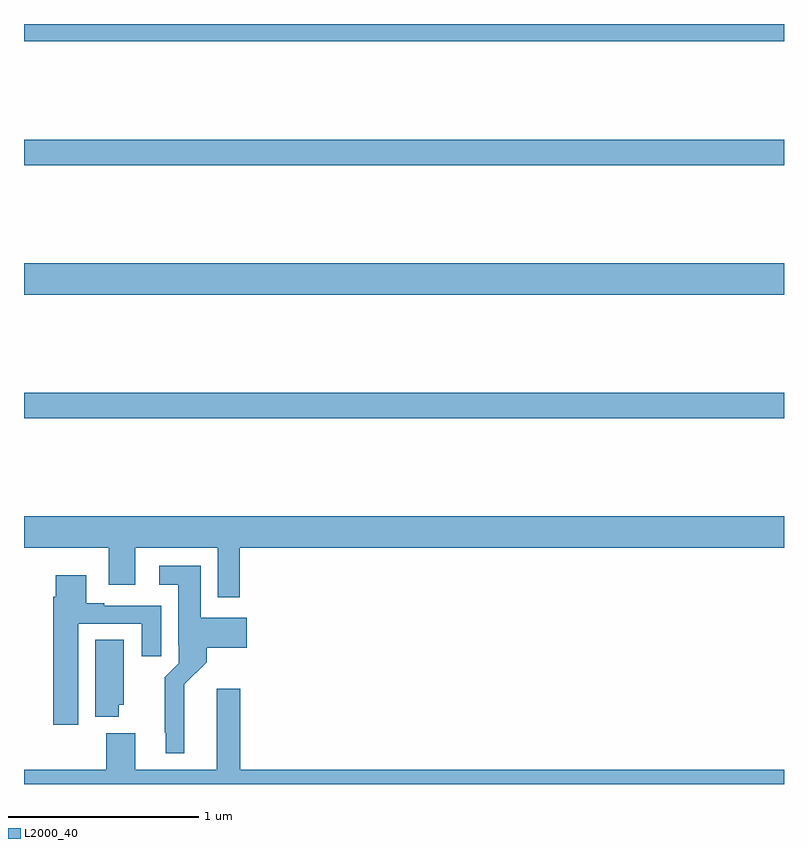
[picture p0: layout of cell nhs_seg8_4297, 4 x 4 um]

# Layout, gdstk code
import gdstk
lib = gdstk.Library(unit=1e-6, precision=1e-09)
def R(c, l, rs):  # rectangles x0, y0, x1, y1
    for r in rs: c.add(gdstk.rectangle(r[:2], r[2:], *l))
def P(c, l, *ps):  # polygons
    for p in ps: c.add(gdstk.Polygon(p, *l))
L2000_40 = (2000, 40)

nhs_seg8_4297 = lib.new_cell('nhs_seg8_4297')
R(nhs_seg8_4297, L2000_40, [(373,1139.824,377,1139.96), (373,1140.476,377,1140.64), (373,1141.156,377,1141.292), (373,1141.808,377,1141.9)])
P(nhs_seg8_4297, L2000_40, [(374.135,1139.144),(377,1139.144),(377,1139.308),(373,1139.308),(373,1139.144),(373.445,1139.144),(373.445,1138.95),(373.585,1138.95),(373.585,1139.144),(374.019,1139.144),(374.019,1138.884),(374.135,1138.884)],
  [(373.843,1138.424),(373.961,1138.542),(373.961,1138.616),(374.173,1138.616),(374.173,1138.774),(373.93,1138.774),(373.93,1139.05),(373.713,1139.05),(373.713,1138.949),(373.811,1138.949),(373.811,1138.63),(373.815,1138.63),(373.815,1138.536),(373.741,1138.462),(373.741,1138.171),(373.745,1138.171),(373.745,1138.061),(373.843,1138.061)],
  [(373.285,1138.743),(373.619,1138.743),(373.619,1138.572),(373.723,1138.572),(373.723,1138.839),(373.423,1138.839),(373.423,1138.852),(373.327,1138.852),(373.327,1138.999),(373.166,1138.999),(373.166,1138.886),(373.154,1138.886),(373.154,1138.212),(373.285,1138.212)],
  [(373.498,1138.317),(373.525,1138.317),(373.525,1138.658),(373.376,1138.658),(373.376,1138.253),(373.498,1138.253)],
  [(377,1137.976),(374.138,1137.976),(374.138,1138.402),(374.015,1138.402),(374.015,1137.976),(373.585,1137.976),(373.585,1138.168),(373.433,1138.168),(373.433,1137.976),(373,1137.976),(373,1137.9),(377,1137.9)])

lib.write_gds('nhs_seg8_4297.gds')
